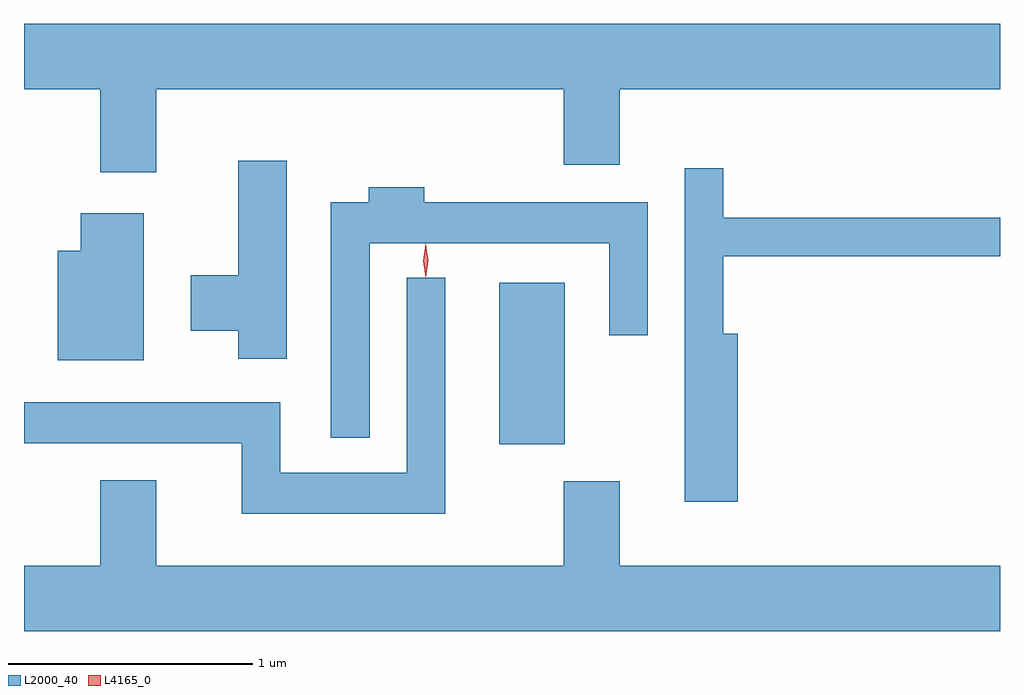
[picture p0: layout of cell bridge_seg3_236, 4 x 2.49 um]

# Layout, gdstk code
import gdstk
lib = gdstk.Library(unit=1e-6, precision=1e-09)
def R(c, l, rs):  # rectangles x0, y0, x1, y1
    for r in rs: c.add(gdstk.rectangle(r[:2], r[2:], *l))
def P(c, l, *ps):  # polygons
    for p in ps: c.add(gdstk.Polygon(p, *l))
L2000_40 = (2000, 40)
L4165_0 = (4165, 0)

bridge_seg3_236 = lib.new_cell('bridge_seg3_236')
R(bridge_seg3_236, L2000_40, [(922.326,1142.321,922.594,1142.984)])
P(bridge_seg3_236, L2000_40, [(920.919,1143.776),(922.591,1143.776),(922.591,1143.466),(922.819,1143.466),(922.819,1143.776),(924.378,1143.776),(924.378,1144.044),(920.378,1144.044),(920.378,1143.776),(920.691,1143.776),(920.691,1143.436),(920.919,1143.436)],
  [(921.454,1143.484),(921.256,1143.484),(921.256,1143.014),(921.061,1143.014),(921.061,1142.786),(921.256,1142.786),(921.256,1142.671),(921.454,1142.671)],
  [(923.304,1142.774),(923.244,1142.774),(923.244,1143.091),(924.378,1143.091),(924.378,1143.249),(923.244,1143.249),(923.244,1143.453),(923.086,1143.453),(923.086,1142.086),(923.304,1142.086)],
  [(921.794,1143.146),(922.776,1143.146),(922.776,1142.768),(922.934,1142.768),(922.934,1143.314),(922.019,1143.314),(922.019,1143.374),(921.791,1143.374),(921.791,1143.314),(921.636,1143.314),(921.636,1142.348),(921.794,1142.348)],
  [(920.869,1143.269),(920.611,1143.269),(920.611,1143.114),(920.516,1143.114),(920.516,1142.666),(920.869,1142.666)],
  [(922.104,1143.003),(921.946,1143.003),(921.946,1142.204),(921.429,1142.204),(921.429,1142.494),(920.378,1142.494),(920.378,1142.326),(921.271,1142.326),(921.271,1142.036),(922.104,1142.036)],
  [(924.378,1141.824),(922.819,1141.824),(922.819,1142.169),(922.591,1142.169),(922.591,1141.824),(920.919,1141.824),(920.919,1142.174),(920.691,1142.174),(920.691,1141.824),(920.378,1141.824),(920.378,1141.556),(924.378,1141.556)])
P(bridge_seg3_236, L4165_0, [(922.024,1143.004),(922.015,1143.073),(922.024,1143.143),(922.025,1143.143),(922.025,1143.143),(922.035,1143.073),(922.025,1143.004),(922.025,1143.004)],
  [(922.024,1143.007),(922.015,1143.074),(922.024,1143.14),(922.025,1143.141),(922.025,1143.14),(922.035,1143.074),(922.025,1143.007),(922.025,1143.007)])

lib.write_gds('bridge_seg3_236.gds')
